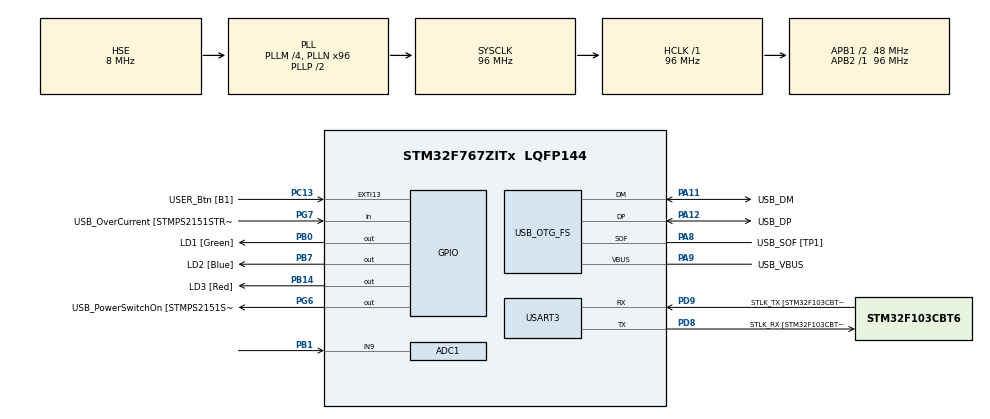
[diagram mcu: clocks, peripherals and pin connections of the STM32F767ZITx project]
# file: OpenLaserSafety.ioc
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ADC1.Channel-5\#ChannelRegularConversion=ADC_CHANNEL_9
ADC1.ClockPrescaler=ADC_CLOCK_SYNC_PCLK_DIV4
ADC1.ContinuousConvMode=ENABLE
ADC1.DMAContinuousRequests=ENABLE
ADC1.NbrOfConversionFlag=1
ADC1.Rank-5\#ChannelRegularConversion=1
ADC1.Resolution=ADC_RESOLUTION_8B
ADC1.SamplingTime-5\#ChannelRegularConversion=ADC_SAMPLETIME_3CYCLES
ADC1.master=1
Dma.ADC1.0.Direction=DMA_PERIPH_TO_MEMORY
Dma.ADC1.0.FIFOMode=DMA_FIFOMODE_DISABLE
Dma.ADC1.0.Instance=DMA2_Stream0
Dma.ADC1.0.MemDataAlignment=DMA_MDATAALIGN_HALFWORD
Dma.ADC1.0.MemInc=DMA_MINC_ENABLE
Dma.ADC1.0.Mode=DMA_CIRCULAR
Dma.ADC1.0.PeriphDataAlignment=DMA_PDATAALIGN_HALFWORD
Dma.ADC1.0.PeriphInc=DMA_PINC_DISABLE
Dma.ADC1.0.Priority=DMA_PRIORITY_LOW
Dma.Request0=ADC1
Mcu.Family=STM32F7
Mcu.Name=STM32F767ZITx
Mcu.Package=LQFP144
NVIC.DMA2_Stream0_IRQn=true\:0\:0\:false\:false\:true\:false\:true
NVIC.PriorityGroup=NVIC_PRIORITYGROUP_4
PA10.GPIO_Label=USB_ID
PA10.Signal=USB_OTG_FS_ID
PA11.GPIO_Label=USB_DM
PA11.Mode=Device_Only
PA11.Signal=USB_OTG_FS_DM
PA12.GPIO_Label=USB_DP
PA12.Mode=Device_Only
PA12.Signal=USB_OTG_FS_DP
PA13.GPIO_Label=TMS
PA13.Mode=Serial_Wire
PA13.Signal=SYS_JTMS-SWDIO
PA14.GPIO_Label=TCK
PA14.Mode=Serial_Wire
PA14.Signal=SYS_JTCK-SWCLK
PA8.GPIO_Label=USB_SOF [TP1]
PA8.Mode=Activate_SOF_FS
PA8.Signal=USB_OTG_FS_SOF
PA9.GPIO_Label=USB_VBUS
PA9.Mode=Activate_VBUS
PA9.Signal=USB_OTG_FS_VBUS
PB0.GPIO_Label=LD1 [Green]
PB0.Signal=GPIO_Output
PB1.Signal=ADCx_IN9
PB14.GPIO_Label=LD3 [Red]
PB14.Signal=GPIO_Output
PB3.GPIO_Label=SWO
PB3.Signal=SYS_JTDO-SWO
PB7.GPIO_Label=LD2 [Blue]
PB7.Signal=GPIO_Output
PC13.GPIO_Label=USER_Btn [B1]
PC13.Signal=GPXTI13
PC14/OSC32_IN.Mode=LSE-External-Oscillator
PC14/OSC32_IN.Signal=RCC_OSC32_IN
PC15/OSC32_OUT.Mode=LSE-External-Oscillator
PC15/OSC32_OUT.Signal=RCC_OSC32_OUT
PD8.GPIO_Label=STLK_RX [STM32F103CBT6_PA3]
PD8.Mode=Asynchronous
PD8.Signal=USART3_TX
PD9.GPIO_Label=STLK_TX [STM32F103CBT6_PA2]
PD9.Mode=Asynchronous
PD9.Signal=USART3_RX
PG6.GPIO_Label=USB_PowerSwitchOn [STMPS2151STR_EN]
PG6.Signal=GPIO_Output
PG7.GPIO_Label=USB_OverCurrent [STMPS2151STR_FAULT]
PG7.Signal=GPIO_Input
PH0/OSC_IN.GPIO_Label=MCO [STM32F103CBT6_PA8]
PH0/OSC_IN.Mode=HSE-External-Clock-Source
PH0/OSC_IN.Signal=RCC_OSC_IN
PH1/OSC_OUT.Mode=HSE-External-Clock-Source
PH1/OSC_OUT.Signal=RCC_OSC_OUT
ProjectManager.HeapSize=0x200
ProjectManager.StackSize=0x400
ProjectManager.TargetToolchain=STM32CubeIDE
RCC.48MHZClocksFreq_Value=24000000
RCC.AHBFreq_Value=96000000
RCC.APB1CLKDivider=RCC_HCLK_DIV2
RCC.APB1Freq_Value=48000000
RCC.APB1TimFreq_Value=96000000
RCC.APB2Freq_Value=96000000
RCC.APB2TimFreq_Value=96000000
RCC.CortexFreq_Value=96000000
RCC.HCLKFreq_Value=96000000
RCC.HSE_VALUE=8000000
RCC.HSI_VALUE=16000000
RCC.PLLM=4
RCC.PLLMUL=RCC_PLL_MUL9
RCC.PLLN=96
RCC.PLLQ=4
RCC.PRESCALERUSB=RCC_USBCLKSOURCE_PLL_DIV1_5
RCC.SYSCLKFreq_VALUE=96000000
RCC.SYSCLKSource=RCC_SYSCLKSOURCE_PLLCLK
RCC.SYSCLKSourceVirtual=RCC_SYSCLKSOURCE_PLLCLK
RCC.USBFreq_Value=48000000
RCC.VCOOutputFreq_Value=192000000
SH.ADCx_IN9.0=ADC1_IN9,IN9
USART3.VirtualMode-Asynchronous=VM_ASYNC
USB_OTG_FS.VirtualMode=Device_Only
board=NUCLEO-F767ZI

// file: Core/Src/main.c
/* USER CODE BEGIN Header */
/**
  ******************************************************************************
  * @file           : main.c
  * @brief          : Main program body
  ******************************************************************************
  * @attention
  *
  * Copyright (c) 2022 STMicroelectronics.
  * All rights reserved.
  *
  * This software is licensed under terms that can be found in the LICENSE file
  * in the root directory of this software component.
  * If no LICENSE file comes with this software, it is provided AS-IS.
  *
  ******************************************************************************
  */
/* USER CODE END Header */
#include "main.h"

/* USER CODE BEGIN Includes */
#include "stdio.h"
#include "watertemp.h"
#include "string.h"
#include "stdbool.h"
#include "config.h"
/* USER CODE END Includes */

/* USER CODE BEGIN PD */
#define NUMBER_ADC_CHANNEL 2
#define NUMBER_ADC_CHANNEL_AVERAGE_PER_CHANNEL 16

/* USER CODE END PD */

ADC_HandleTypeDef hadc1;
DMA_HandleTypeDef hdma_adc1;

UART_HandleTypeDef huart3;

PCD_HandleTypeDef hpcd_USB_OTG_FS;

/* USER CODE BEGIN PV */
uint16_t adcBuf[NUMBER_ADC_CHANNEL * NUMBER_ADC_CHANNEL_AVERAGE_PER_CHANNEL] = {0};
uint32_t conversionResult[NUMBER_ADC_CHANNEL];

bool isAdcWork;
WaterData waterInletData;
WaterData waterOutletData;

/* USER CODE END PV */

void SystemClock_Config(void);
static void MX_GPIO_Init(void);
static void MX_USART3_UART_Init(void);
static void MX_USB_OTG_FS_PCD_Init(void);
static void MX_DMA_Init(void);
static void MX_ADC1_Init(void);
/* USER CODE BEGIN PFP */
uint16_t adc_dma_average(int);
/* USER CODE END PFP */

int main(void)
{
  /* USER CODE BEGIN 1 */
  char msgbuf[512]= {'\0'};
  waterInletData.lowerBound = TEMP1_LOWER;
  waterInletData.upperBound = TEMP1_UPPER;
  waterOutletData.lowerBound = TEMP1_LOWER;
  waterOutletData.upperBound = TEMP1_UPPER;

  /* USER CODE END 1 */

  /* MCU Configuration--------------------------------------------------------*/

  /* Reset of all peripherals, Initializes the Flash interface and the Systick. */
  HAL_Init();

  /* Configure the system clock */
  SystemClock_Config();

  /* Initialize all configured peripherals */
  MX_GPIO_Init();
  MX_USART3_UART_Init();
  MX_USB_OTG_FS_PCD_Init();
  MX_DMA_Init();
  MX_ADC1_Init();
  /* USER CODE BEGIN 2 */

  sprintf(msgbuf, "Starting device.\r\n");
  HAL_UART_Transmit(&huart3, (uint8_t*)msgbuf, strlen(msgbuf), 100);
  if (HAL_ADC_Start_DMA(&hadc1, (uint32_t *)adcBuf, NUMBER_ADC_CHANNEL * NUMBER_ADC_CHANNEL_AVERAGE_PER_CHANNEL) != HAL_OK) {
  	  Error_Handler();
    }

  HAL_Delay(200);

  /* USER CODE END 2 */

  /* Infinite loop */
  /* USER CODE BEGIN WHILE */
  while (1)
  {
      sprintf(msgbuf, "temperature %d - %d \r\n", adc_dma_average(0), adc_dma_average(1));
      HAL_UART_Transmit(&huart3, (uint8_t*)msgbuf, strlen(msgbuf), 100);

      if (checkWaterTemperature(&waterInletData, adcBuf[0])){
        sprintf(msgbuf, "Inlet temperature ok\r\n");
        HAL_UART_Transmit(&huart3, (uint8_t*)msgbuf, strlen(msgbuf), 100);
      } else {
        sprintf(msgbuf, "Inlet temperature NOT ok\r\n");
        HAL_UART_Transmit(&huart3, (uint8_t*)msgbuf, strlen(msgbuf), 100);
      }

      if (ENABLE_TEMP2) {
          if (checkWaterTemperature(&waterOutletData, adcBuf[1])){
            sprintf(msgbuf, "Outlet temperature ok\r\n");
            HAL_UART_Transmit(&huart3, (uint8_t*)msgbuf, strlen(msgbuf), 100);
          } else {
            sprintf(msgbuf, "Outlet temperature NOT ok\r\n");
            HAL_UART_Transmit(&huart3, (uint8_t*)msgbuf, strlen(msgbuf), 100);
          }

      }

      HAL_Delay(200);
    /* USER CODE END WHILE */

  }
}

void SystemClock_Config(void)
{
  RCC_OscInitTypeDef RCC_OscInitStruct = {0};
  RCC_ClkInitTypeDef RCC_ClkInitStruct = {0};

  /** Configure LSE Drive Capability
  */
  HAL_PWR_EnableBkUpAccess();
  /** Configure the main internal regulator output voltage
  */
  __HAL_RCC_PWR_CLK_ENABLE();
  __HAL_PWR_VOLTAGESCALING_CONFIG(PWR_REGULATOR_VOLTAGE_SCALE3);
  /** Initializes the RCC Oscillators according to the specified parameters
  * in the RCC_OscInitTypeDef structure.
  */
  RCC_OscInitStruct.OscillatorType = RCC_OSCILLATORTYPE_HSE;
  RCC_OscInitStruct.HSEState = RCC_HSE_BYPASS;
  RCC_OscInitStruct.PLL.PLLState = RCC_PLL_ON;
  RCC_OscInitStruct.PLL.PLLSource = RCC_PLLSOURCE_HSE;
  RCC_OscInitStruct.PLL.PLLM = 4;
  RCC_OscInitStruct.PLL.PLLN = 96;
  RCC_OscInitStruct.PLL.PLLP = RCC_PLLP_DIV2;
  RCC_OscInitStruct.PLL.PLLQ = 4;
  RCC_OscInitStruct.PLL.PLLR = 2;
  if (HAL_RCC_OscConfig(&RCC_OscInitStruct) != HAL_OK)
  {
    Error_Handler();
  }
  /** Activate the Over-Drive mode
  */
  if (HAL_PWREx_EnableOverDrive() != HAL_OK)
  {
    Error_Handler();
  }
  /** Initializes the CPU, AHB and APB buses clocks
  */
  RCC_ClkInitStruct.ClockType = RCC_CLOCKTYPE_HCLK|RCC_CLOCKTYPE_SYSCLK
                              |RCC_CLOCKTYPE_PCLK1|RCC_CLOCKTYPE_PCLK2;
  RCC_ClkInitStruct.SYSCLKSource = RCC_SYSCLKSOURCE_PLLCLK;
  RCC_ClkInitStruct.AHBCLKDivider = RCC_SYSCLK_DIV1;
  RCC_ClkInitStruct.APB1CLKDivider = RCC_HCLK_DIV2;
  RCC_ClkInitStruct.APB2CLKDivider = RCC_HCLK_DIV1;

  if (HAL_RCC_ClockConfig(&RCC_ClkInitStruct, FLASH_LATENCY_3) != HAL_OK)
  {
    Error_Handler();
  }
}

static void MX_ADC1_Init(void)
{

  ADC_ChannelConfTypeDef sConfig = {0};

  /** Configure the global features of the ADC (Clock, Resolution, Data Alignment and number of conversion)
  */
  hadc1.Instance = ADC1;
  hadc1.Init.ClockPrescaler = ADC_CLOCK_SYNC_PCLK_DIV8;
  hadc1.Init.Resolution = ADC_RESOLUTION_12B;
  hadc1.Init.ScanConvMode = ADC_SCAN_ENABLE;
  hadc1.Init.ContinuousConvMode = ENABLE;
  hadc1.Init.DiscontinuousConvMode = DISABLE;
  hadc1.Init.ExternalTrigConvEdge = ADC_EXTERNALTRIGCONVEDGE_NONE;
  hadc1.Init.ExternalTrigConv = ADC_SOFTWARE_START;
  hadc1.Init.DataAlign = ADC_DATAALIGN_RIGHT;
  hadc1.Init.NbrOfConversion = 2;
  hadc1.Init.DMAContinuousRequests = ENABLE;
  hadc1.Init.EOCSelection = ADC_EOC_SEQ_CONV;
  if (HAL_ADC_Init(&hadc1) != HAL_OK)
  {
    Error_Handler();
  }
  /** Configure for the selected ADC regular channel its corresponding rank in the sequencer and its sample time.
  */
  sConfig.Channel = ADC_CHANNEL_9;
  sConfig.Rank = ADC_REGULAR_RANK_1;
  sConfig.SamplingTime = ADC_SAMPLETIME_480CYCLES;
  if (HAL_ADC_ConfigChannel(&hadc1, &sConfig) != HAL_OK)
  {
    Error_Handler();
  }
  /** Configure for the selected ADC regular channel its corresponding rank in the sequencer and its sample time.
  */
  sConfig.Channel = ADC_CHANNEL_12;
  sConfig.Rank = ADC_REGULAR_RANK_2;
  if (HAL_ADC_ConfigChannel(&hadc1, &sConfig) != HAL_OK)
  {
    Error_Handler();
  }

}

static void MX_USART3_UART_Init(void)
{

  huart3.Instance = USART3;
  huart3.Init.BaudRate = 115200;
  huart3.Init.WordLength = UART_WORDLENGTH_8B;
  huart3.Init.StopBits = UART_STOPBITS_1;
  huart3.Init.Parity = UART_PARITY_NONE;
  huart3.Init.Mode = UART_MODE_TX_RX;
  huart3.Init.HwFlowCtl = UART_HWCONTROL_NONE;
  huart3.Init.OverSampling = UART_OVERSAMPLING_16;
  huart3.Init.OneBitSampling = UART_ONE_BIT_SAMPLE_DISABLE;
  huart3.AdvancedInit.AdvFeatureInit = UART_ADVFEATURE_NO_INIT;
  if (HAL_UART_Init(&huart3) != HAL_OK)
  {
    Error_Handler();
  }

}

static void MX_USB_OTG_FS_PCD_Init(void)
{

  hpcd_USB_OTG_FS.Instance = USB_OTG_FS;
  hpcd_USB_OTG_FS.Init.dev_endpoints = 6;
  hpcd_USB_OTG_FS.Init.speed = PCD_SPEED_FULL;
  hpcd_USB_OTG_FS.Init.dma_enable = DISABLE;
  hpcd_USB_OTG_FS.Init.phy_itface = PCD_PHY_EMBEDDED;
  hpcd_USB_OTG_FS.Init.Sof_enable = ENABLE;
  hpcd_USB_OTG_FS.Init.low_power_enable = DISABLE;
  hpcd_USB_OTG_FS.Init.lpm_enable = DISABLE;
  hpcd_USB_OTG_FS.Init.vbus_sensing_enable = ENABLE;
  hpcd_USB_OTG_FS.Init.use_dedicated_ep1 = DISABLE;
  if (HAL_PCD_Init(&hpcd_USB_OTG_FS) != HAL_OK)
  {
    Error_Handler();
  }

}

static void MX_DMA_Init(void)
{

  /* DMA controller clock enable */
  __HAL_RCC_DMA2_CLK_ENABLE();

  /* DMA interrupt init */
  /* DMA2_Stream0_IRQn interrupt configuration */
  HAL_NVIC_SetPriority(DMA2_Stream0_IRQn, 0, 0);
  HAL_NVIC_EnableIRQ(DMA2_Stream0_IRQn);

}

static void MX_GPIO_Init(void)
{
  GPIO_InitTypeDef GPIO_InitStruct = {0};

  /* GPIO Ports Clock Enable */
  __HAL_RCC_GPIOC_CLK_ENABLE();
  __HAL_RCC_GPIOH_CLK_ENABLE();
  __HAL_RCC_GPIOB_CLK_ENABLE();
  __HAL_RCC_GPIOD_CLK_ENABLE();
  __HAL_RCC_GPIOG_CLK_ENABLE();
  __HAL_RCC_GPIOA_CLK_ENABLE();

  /*Configure GPIO pin Output Level */
  HAL_GPIO_WritePin(GPIOB, LD1_Pin|LD3_Pin|LD2_Pin, GPIO_PIN_RESET);

  /*Configure GPIO pin Output Level */
  HAL_GPIO_WritePin(USB_PowerSwitchOn_GPIO_Port, USB_PowerSwitchOn_Pin, GPIO_PIN_RESET);

  /*Configure GPIO pin : USER_Btn_Pin */
  GPIO_InitStruct.Pin = USER_Btn_Pin;
  GPIO_InitStruct.Mode = GPIO_MODE_IT_RISING;
  GPIO_InitStruct.Pull = GPIO_NOPULL;
  HAL_GPIO_Init(USER_Btn_GPIO_Port, &GPIO_InitStruct);

  /*Configure GPIO pins : LD1_Pin LD3_Pin LD2_Pin */
  GPIO_InitStruct.Pin = LD1_Pin|LD3_Pin|LD2_Pin;
  GPIO_InitStruct.Mode = GPIO_MODE_OUTPUT_PP;
  GPIO_InitStruct.Pull = GPIO_NOPULL;
  GPIO_InitStruct.Speed = GPIO_SPEED_FREQ_LOW;
  HAL_GPIO_Init(GPIOB, &GPIO_InitStruct);

  /*Configure GPIO pin : USB_PowerSwitchOn_Pin */
  GPIO_InitStruct.Pin = USB_PowerSwitchOn_Pin;
  GPIO_InitStruct.Mode = GPIO_MODE_OUTPUT_PP;
  GPIO_InitStruct.Pull = GPIO_NOPULL;
  GPIO_InitStruct.Speed = GPIO_SPEED_FREQ_LOW;
  HAL_GPIO_Init(USB_PowerSwitchOn_GPIO_Port, &GPIO_InitStruct);

  /*Configure GPIO pin : USB_OverCurrent_Pin */
  GPIO_InitStruct.Pin = USB_OverCurrent_Pin;
  GPIO_InitStruct.Mode = GPIO_MODE_INPUT;
  GPIO_InitStruct.Pull = GPIO_NOPULL;
  HAL_GPIO_Init(USB_OverCurrent_GPIO_Port, &GPIO_InitStruct);

}

/* USER CODE BEGIN 4 */

uint16_t adc_dma_average(int channel)
{
	uint32_t adc_sum;
	int i;

	adc_sum = 0;
	if(channel < NUMBER_ADC_CHANNEL )
	{
		for(i=0; i<NUMBER_ADC_CHANNEL_AVERAGE_PER_CHANNEL; i++)
			adc_sum += adcBuf[channel+i*NUMBER_ADC_CHANNEL];
	}
	else
		return 1;

	return adc_sum/NUMBER_ADC_CHANNEL_AVERAGE_PER_CHANNEL;
}
/* USER CODE END 4 */

void Error_Handler(void)
{
  __disable_irq();
  while (1)
  {
  }
}
